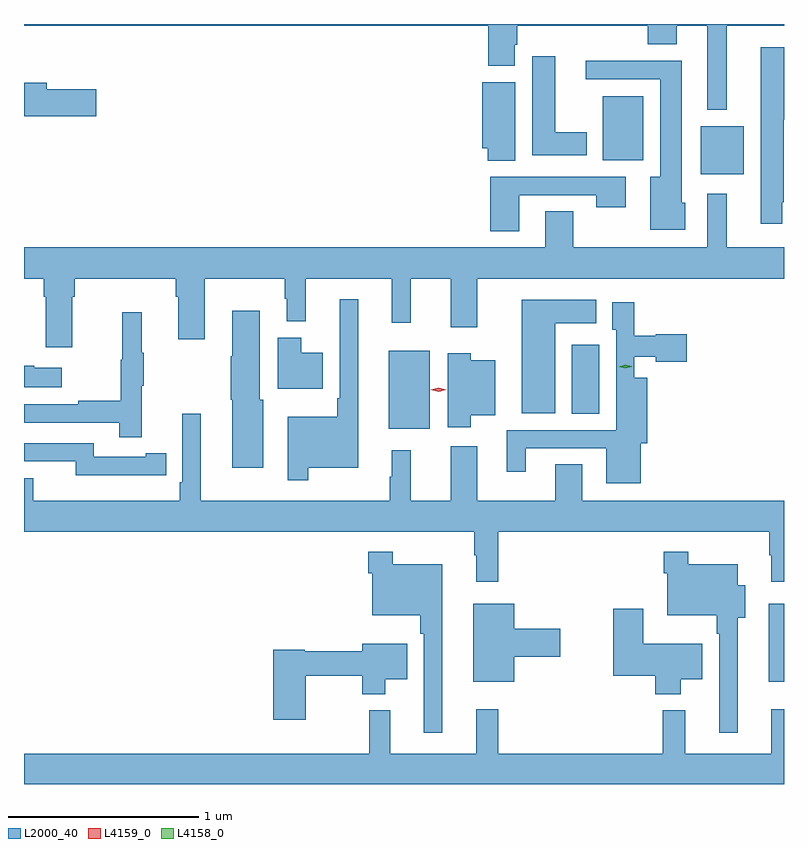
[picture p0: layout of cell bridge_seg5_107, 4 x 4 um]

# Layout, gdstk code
import gdstk
lib = gdstk.Library(unit=1e-6, precision=1e-09)
def R(c, l, rs):  # rectangles x0, y0, x1, y1
    for r in rs: c.add(gdstk.rectangle(r[:2], r[2:], *l))
def P(c, l, *ps):  # polygons
    for p in ps: c.add(gdstk.Polygon(p, *l))
L2000_40 = (2000, 40)
L4158_0 = (4158, 0)
L4159_0 = (4159, 0)

bridge_seg5_107 = lib.new_cell('bridge_seg5_107')
R(bridge_seg5_107, L2000_40, [(416.357,881.279,416.438,881.689), (414.359,882.611,414.574,883.021), (415.322,882.688,415.465,883.051), (416,883.949,416.227,884.203), (415.484,884.024,415.696,884.359)])
P(bridge_seg5_107, L2000_40, [(416.137,884.732),(416.438,884.732),(416.438,884.74),(412.438,884.74),(412.438,884.732),(414.881,884.732),(414.881,884.519),(415.021,884.519),(415.021,884.631),(415.034,884.631),(415.034,884.732),(415.721,884.732),(415.721,884.633),(415.873,884.633),(415.873,884.732),(416.033,884.732),(416.033,884.288),(416.137,884.288)],
  [(416.429,883.801),(416.437,883.801),(416.437,884.237),(416.438,884.237),(416.438,884.617),(416.315,884.617),(416.315,883.689),(416.429,883.689)],
  [(415.399,884.17),(415.234,884.17),(415.234,884.569),(415.112,884.569),(415.112,884.048),(415.399,884.048)],
  [(415.918,883.8),(415.9,883.8),(415.9,884.546),(415.395,884.546),(415.395,884.448),(415.787,884.448),(415.787,883.936),(415.733,883.936),(415.733,883.658),(415.918,883.658)],
  [(415.024,884.434),(414.851,884.434),(414.851,884.087),(414.878,884.087),(414.878,884.02),(415.024,884.02)],
  [(412.819,884.397),(412.558,884.397),(412.558,884.431),(412.438,884.431),(412.438,884.255),(412.819,884.255)],
  [(415.045,883.839),(415.45,883.839),(415.45,883.776),(415.606,883.776),(415.606,883.935),(414.893,883.935),(414.893,883.65),(415.045,883.65)],
  [(412.693,883.304),(412.706,883.304),(412.706,883.4),(413.237,883.4),(413.237,883.304),(413.249,883.304),(413.249,883.08),(413.389,883.08),(413.389,883.4),(413.811,883.4),(413.811,883.293),(413.822,883.293),(413.822,883.175),(413.921,883.175),(413.921,883.4),(414.374,883.4),(414.374,883.167),(414.473,883.167),(414.473,883.4),(414.683,883.4),(414.683,883.143),(414.823,883.143),(414.823,883.4),(416.438,883.4),(416.438,883.564),(416.137,883.564),(416.137,883.846),(416.033,883.846),(416.033,883.564),(415.329,883.564),(415.329,883.754),(415.181,883.754),(415.181,883.564),(412.438,883.564),(412.438,883.4),(412.541,883.4),(412.541,883.304),(412.553,883.304),(412.553,883.038),(412.693,883.038)],
  [(413.935,882.404),(414.196,882.404),(414.196,883.291),(414.099,883.291),(414.099,882.769),(414.087,882.769),(414.087,882.673),(413.826,882.673),(413.826,882.339),(413.935,882.339)],
  [(415.234,883.166),(415.45,883.166),(415.45,883.288),(415.058,883.288),(415.058,882.692),(415.234,882.692)],
  [(415.684,882.533),(415.717,882.533),(415.717,882.877),(415.65,882.877),(415.65,882.99),(415.764,882.99),(415.764,882.962),(415.927,882.962),(415.927,883.107),(415.764,883.107),(415.764,883.099),(415.65,883.099),(415.65,883.276),(415.535,883.276),(415.535,883.131),(415.554,883.131),(415.554,882.603),(414.98,882.603),(414.98,882.384),(415.078,882.384),(415.078,882.507),(415.502,882.507),(415.502,882.323),(415.684,882.323)],
  [(413.698,882.762),(413.68,882.762),(413.68,883.231),(413.534,883.231),(413.534,882.992),(413.527,882.992),(413.527,882.762),(413.534,882.762),(413.534,882.404),(413.698,882.404)],
  [(413.057,882.835),(413.068,882.835),(413.068,883.009),(413.057,883.009),(413.057,883.222),(412.954,883.222),(412.954,882.972),(412.947,882.972),(412.947,882.758),(412.723,882.758),(412.723,882.738),(412.438,882.738),(412.438,882.642),(412.939,882.642),(412.939,882.564),(413.057,882.564)],
  [(414.01,883.009),(413.896,883.009),(413.896,883.09),(413.774,883.09),(413.774,882.821),(414.01,882.821)],
  [(414.79,882.68),(414.919,882.68),(414.919,882.97),(414.79,882.97),(414.79,883.006),(414.668,883.006),(414.668,882.618),(414.79,882.618)],
  [(412.636,882.931),(412.493,882.931),(412.493,882.941),(412.438,882.941),(412.438,882.827),(412.636,882.827)],
  [(414.935,882.068),(416.361,882.068),(416.361,881.945),(416.372,881.945),(416.372,881.805),(416.438,881.805),(416.438,882.232),(415.375,882.232),(415.375,882.422),(415.235,882.422),(415.235,882.232),(414.823,882.232),(414.823,882.517),(414.683,882.517),(414.683,882.232),(414.473,882.232),(414.473,882.496),(414.374,882.496),(414.374,882.356),(414.363,882.356),(414.363,882.232),(413.368,882.232),(413.368,882.688),(413.271,882.688),(413.271,882.328),(413.258,882.328),(413.258,882.232),(412.486,882.232),(412.486,882.349),(412.438,882.349),(412.438,882.068),(414.807,882.068),(414.807,881.945),(414.818,881.945),(414.818,881.805),(414.935,881.805)],
  [(413.078,882.366),(413.186,882.366),(413.186,882.482),(413.078,882.482),(413.078,882.462),(412.806,882.462),(412.806,882.534),(412.438,882.534),(412.438,882.438),(412.71,882.438),(412.71,882.365),(413.078,882.365)],
  [(416.194,881.615),(416.233,881.615),(416.233,881.785),(416.194,881.785),(416.194,881.896),(415.933,881.896),(415.933,881.962),(415.804,881.962),(415.804,881.849),(415.824,881.849),(415.824,881.627),(416.085,881.627),(416.085,881.531),(416.097,881.531),(416.097,881.01),(416.194,881.01)],
  [(414.64,881.896),(414.379,881.896),(414.379,881.962),(414.25,881.962),(414.25,881.849),(414.27,881.849),(414.27,881.627),(414.523,881.627),(414.523,881.531),(414.543,881.531),(414.543,881.01),(414.64,881.01)],
  [(415.018,881.411),(415.261,881.411),(415.261,881.558),(415.018,881.558),(415.018,881.689),(414.803,881.689),(414.803,881.279),(415.018,881.279)],
  [(415.894,881.291),(416.008,881.291),(416.008,881.479),(415.696,881.479),(415.696,881.662),(415.538,881.662),(415.538,881.309),(415.76,881.309),(415.76,881.213),(415.894,881.213)],
  [(413.92,881.31),(414.218,881.31),(414.218,881.213),(414.34,881.213),(414.34,881.291),(414.454,881.291),(414.454,881.479),(414.218,881.479),(414.218,881.438),(413.916,881.438),(413.916,881.446),(413.75,881.446),(413.75,881.079),(413.92,881.079)],
  [(416.438,881.134),(416.372,881.134),(416.372,880.9),(415.919,880.9),(415.919,881.128),(415.801,881.128),(415.801,880.9),(414.935,880.9),(414.935,881.134),(414.818,881.134),(414.818,880.9),(414.365,880.9),(414.365,881.128),(414.255,881.128),(414.255,880.9),(412.438,880.9),(412.438,880.74),(416.438,880.74)])
P(bridge_seg5_107, L4158_0, [(415.602,882.927),(415.567,882.936),(415.566,882.936),(415.567,882.936),(415.602,882.947),(415.637,882.938),(415.637,882.938),(415.637,882.937)])
P(bridge_seg5_107, L4159_0, [(414.621,882.805),(414.58,882.814),(414.58,882.814),(414.58,882.815),(414.621,882.825),(414.661,882.815),(414.661,882.815),(414.661,882.815)])

lib.write_gds('bridge_seg5_107.gds')
